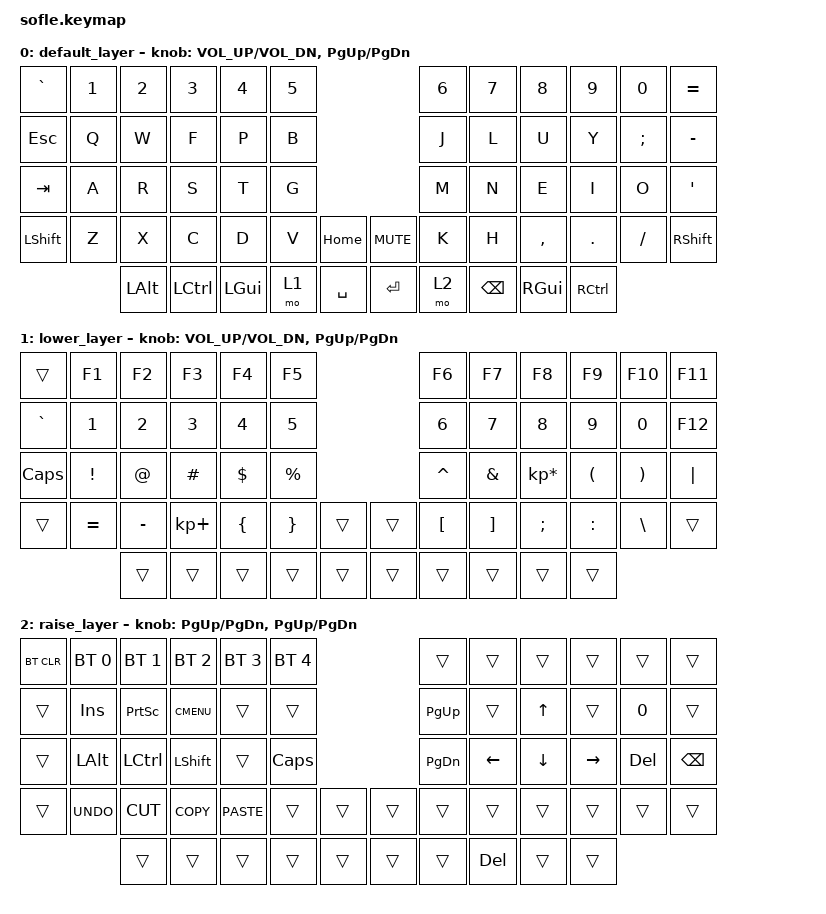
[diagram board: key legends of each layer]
/*
 * Copyright (c) 2020 The ZMK Contributors
 *
 * SPDX-License-Identifier: MIT
 */

#include <behaviors.dtsi>
#include <dt-bindings/zmk/keys.h>
#include <dt-bindings/zmk/bt.h>

/ {
    keymap {
        compatible = "zmk,keymap";

        default_layer {
// ------------------------------------------------------------------------------------------------------------
// |  `    |  1  |  2  |  3   |  4   |  5   |                   |  6   |   7   |   8   |  9   |   0   |   =   |
// |  ESC  |  Q  |  W  |  F   |  P   |  B   |                   |  J   |   L   |   U   |  Y   |   ;   |   -   |
// |  TAB  |  A  |  R  |  S   |  T   |  G   |                   |  M   |   N   |   E   |  I   |   O   |   '   |
// | SHIFT |  Z  |  X  |  C   |  D   |  V   |  MUTE  |  | HOME  |  K   |   H   |   ,   |  .   |   /   | SHIFT |
//               | ALT | CTRL | GUI  | LOWER|  SPACE |  | ENTER | RAISE| BKSPC |  GUI  | CTRL |
            bindings = <
&kp GRAVE &kp N1 &kp N2    &kp N3    &kp N4    &kp N5                       &kp N6 &kp N7    &kp N8    &kp N9   &kp N0   &kp EQUAL
&kp ESC   &kp Q  &kp W     &kp F     &kp P     &kp B                        &kp J  &kp L     &kp U     &kp Y    &kp SEMI &kp MINUS
&kp TAB   &kp A  &kp R     &kp S     &kp T     &kp G                        &kp M  &kp N     &kp E     &kp I    &kp O    &kp SQT
&kp LSHFT &kp Z  &kp X     &kp C     &kp D     &kp V  &kp HOME   &kp C_MUTE &kp K  &kp H     &kp COMMA &kp DOT  &kp FSLH &kp RSHFT
                 &kp LALT  &kp LCTRL &kp LGUI  &mo 1  &kp SPACE  &kp RET    &mo 2  &kp BSPC  &kp RGUI  &kp RCTRL
            >;

            sensor-bindings = <&inc_dec_kp C_VOL_UP C_VOL_DN &inc_dec_kp PG_UP PG_DN>;
        };

        lower_layer {
// TODO: Some binds are waiting for shifted keycode support.
// ------------------------------------------------------------------------------------------------------------
// |       |  F1 |  F2 |  F3  |  F4  |  F5  |                   |  F6  |  F7   |  F8   |  F9  |  F10  |  F11  |
// | `     |   1 |   2 |   3  |   4  |   5  |                   |   6  |   7   |   8   |   9  |    0  |  F12  |
// | CAPS  |  !  |  @  |  #   |  $   |  %   |                   |  ^   |  &    |  *    |  (   |   )   |   |   |
// |       |  =  |  -  |  +   |  {   |  }   |        |  |       |  [   |  ]    |  ;    |  :   |   \   |       |
//               |     |      |      |      |        |  |       |      |       |       |      |
            bindings = <
&trans    &kp F1    &kp F2    &kp F3      &kp F4    &kp F5                    &kp F6    &kp F7   &kp F8          &kp F9    &kp F10   &kp F11
&kp GRAVE &kp N1    &kp N2    &kp N3      &kp N4    &kp N5                    &kp N6    &kp N7   &kp N8          &kp N9    &kp N0    &kp F12
&kp CLCK  &kp EXCL  &kp AT    &kp HASH    &kp DLLR  &kp PRCNT                 &kp CARET &kp AMPS &kp KP_MULTIPLY &kp LPAR  &kp RPAR  &kp PIPE
&trans    &kp EQUAL &kp MINUS &kp KP_PLUS &kp LBRC  &kp RBRC  &trans   &trans &kp LBKT  &kp RBKT &kp SEMI        &kp COLON &kp BSLH  &trans
                    &trans    &trans      &trans    &trans    &trans   &trans &trans    &trans   &trans          &trans
            >;

            sensor-bindings = <&inc_dec_kp C_VOL_UP C_VOL_DN &inc_dec_kp PG_UP PG_DN>;
        };

        raise_layer {
// ------------------------------------------------------------------------------------------------------------
// |BTCLR| BT1  | BT2  |  BT3  |  BT4  |  BT5 |                |      |      |       |      |       |       |
// |     | INS  | PSCR | GUI   |       |      |                | PGUP |      |   ^   |      |       |       |
// |     | ALT  | CTRL | SHIFT |       | CAPS |                | PGDN |   <- |   v   |  ->  |  DEL  | BKSPC |
// |     | UNDO | CUT  | COPY  | PASTE |      |      |  |      |      |      |       |      |       |       |
//              |      |       |       |      |      |  |      |      |  DEL |       |      |
            bindings = <
&bt BT_CLR &bt BT_SEL 0 &bt BT_SEL 1 &bt BT_SEL 2 &bt BT_SEL 3 &bt BT_SEL 4             &trans    &trans    &trans   &trans    &trans  &trans
&trans     &kp INS      &kp PSCRN    &kp K_CMENU  &trans       &trans                   &kp PG_UP &trans    &kp UP   &trans    &kp N0  &trans
&trans     &kp LALT     &kp LCTRL    &kp LSHFT    &trans       &kp CLCK                 &kp PG_DN &kp LEFT  &kp DOWN &kp RIGHT &kp DEL &kp BSPC
&trans     &kp K_UNDO   &kp K_CUT    &kp K_COPY   &kp K_PASTE  &trans  &trans   &trans  &trans    &trans    &trans   &trans    &trans  &trans
                        &trans       &trans       &trans       &trans  &trans   &trans  &trans    &kp DEL   &trans   &trans
            >;

            sensor-bindings = <&inc_dec_kp PG_UP PG_DN &inc_dec_kp PG_UP PG_DN>;
        };
    };
};
